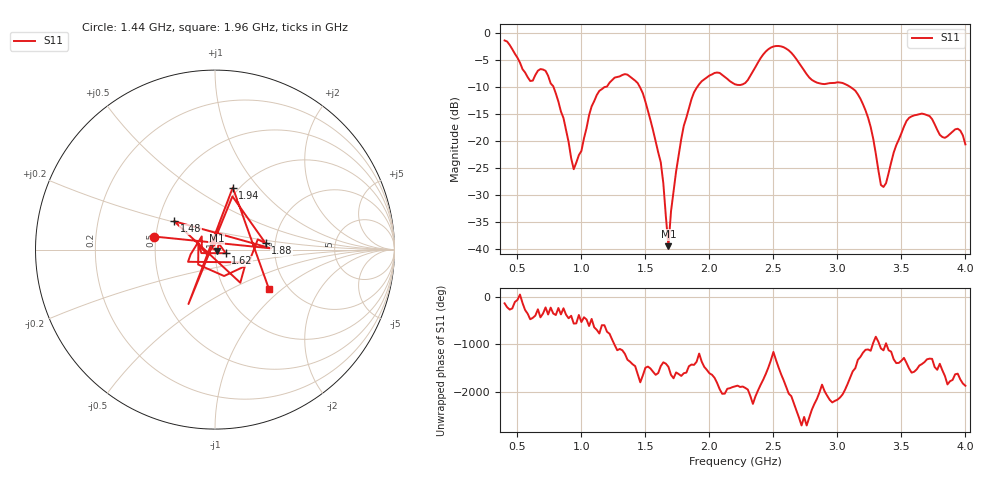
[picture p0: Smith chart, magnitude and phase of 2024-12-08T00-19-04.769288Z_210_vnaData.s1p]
!Created with skrf (http://scikit-rf.org).
# Hz S RI R 50.0
!freq ReS11 ImS11
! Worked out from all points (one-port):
!   181 points, 400 MHz to 4 GHz, reference 50 ohm
!   lowest |S11| = -39.6 dB at 1.68 GHz (marker M1), VSWR 1.02, Z = 50.9 - j0.605 ohm
!   |S11| at or under -10 dB: 782.8 MHz to 1.179 GHz (395.8 MHz wide, 40.4 % of centre); 1.458 GHz to 1.903 GHz (445.8 MHz wide, 26.5 % of centre); 3.104 GHz to end of sweep
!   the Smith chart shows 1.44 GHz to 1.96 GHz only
!   S11 on the Smith chart (normalised r, x): 1.44 GHz: 0.49, +0.08; 1.48 GHz: 0.60, +0.21; 1.62 GHz: 1.13, -0.05; 1.88 GHz: 1.78, +0.14; 1.94 GHz: 0.94, +0.74; 1.96 GHz: 1.60, -0.83
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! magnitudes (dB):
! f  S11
! 400 MHz  -1.3
! 600 MHz  -8.8
! 720 MHz  -6.9
! 860 MHz  -15.7
! 940 MHz  -25.2
! 1.12 GHz  -11.5
! 1.3 GHz  -8.0
! 1.44 GHz  -9.2
! 1.48 GHz  -11.1
! 1.62 GHz  -24.0
! 1.68 GHz  -39.6
! 1.7 GHz  -33.1
! 1.76 GHz  -22.6
! 1.88 GHz  -10.9
! 1.94 GHz  -8.9
! 1.96 GHz  -8.5
! 2.2 GHz  -9.5
! 2.48 GHz  -2.6
! 2.66 GHz  -4.1
! 2.82 GHz  -8.9
! 3.1 GHz  -9.9
! 3.24 GHz  -15.7
! 3.36 GHz  -28.5
! 3.56 GHz  -15.7
! 3.72 GHz  -15.4
! 3.84 GHz  -19.4
! 3.94 GHz  -17.7
! 4 GHz  -20.6
